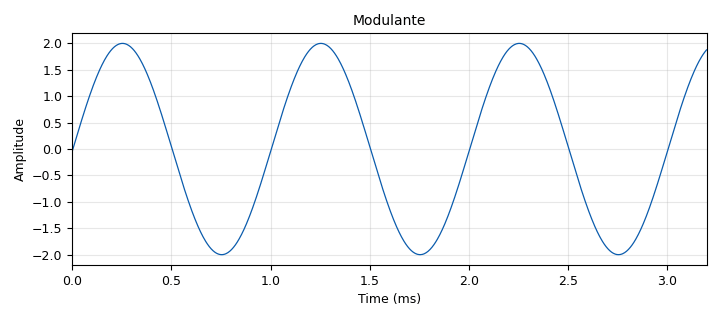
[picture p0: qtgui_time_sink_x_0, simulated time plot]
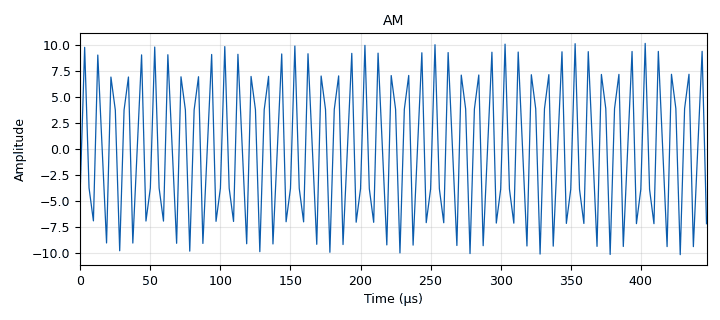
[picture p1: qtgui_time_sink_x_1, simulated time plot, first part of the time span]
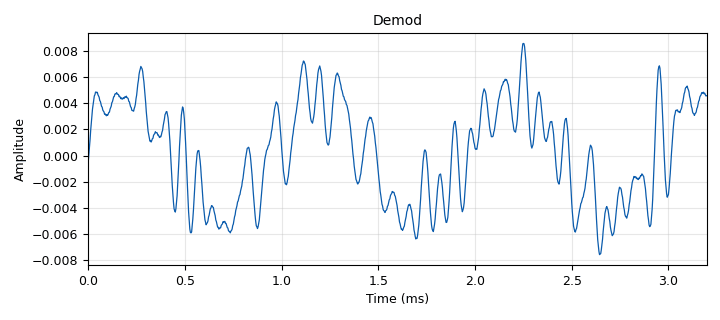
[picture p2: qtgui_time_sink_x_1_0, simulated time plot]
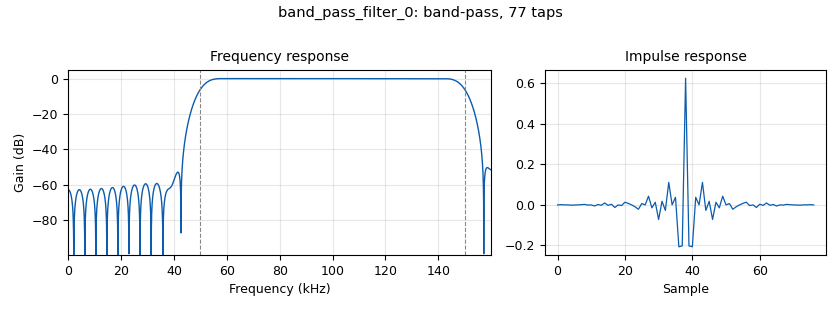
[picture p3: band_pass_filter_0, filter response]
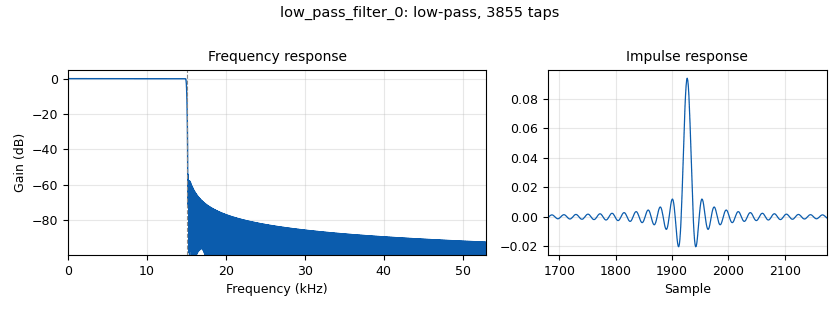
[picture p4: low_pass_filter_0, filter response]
options:
  parameters:
    author: Vazquez Leonardo
    generate_options: qt_gui
    id: am2
    output_language: python
    title: Am mod-dem
  states: {}

blocks:
- name: M
  id: variable_qtgui_range
  parameters:
    label: M
    orient: Qt.Horizontal
    start: '0.01'
    step: '0.01'
    stop: '1'
    value: '0.01'
  states: {}
- name: fol
  id: variable_qtgui_range
  parameters:
    label: oscilator rx
    orient: Qt.Horizontal
    start: '1000'
    step: '5000'
    stop: '100000'
    value: '100000'
  states: {}
- name: noise
  id: variable_qtgui_range
  parameters:
    label: Noise
    orient: Qt.Horizontal
    start: '0.01'
    step: '0.01'
    stop: '1'
    value: '0.01'
  states: {}
- name: samp_rate
  id: variable
  parameters:
    value: '320000'
  states: {}
- name: analog_const_source_x_0
  id: analog_const_source_x
  parameters:
    const: '1'
    type: float
  states: {}
- name: analog_noise_source_x_0
  id: analog_noise_source_x
  parameters:
    amp: noise
    noise_type: analog.GR_GAUSSIAN
    seed: '0'
    type: float
  states: {}
- name: analog_sig_source_x_0
  id: analog_sig_source_x
  parameters:
    amp: '2'
    freq: '1000'
    offset: '0'
    phase: '0'
    samp_rate: samp_rate
    type: float
    waveform: analog.GR_SIN_WAVE
  states: {}
- name: analog_sig_source_x_1
  id: analog_sig_source_x
  parameters:
    amp: '10'
    freq: '100000'
    offset: '0'
    phase: '0'
    samp_rate: samp_rate
    type: float
    waveform: analog.GR_COS_WAVE
  states: {}
- name: analog_sig_source_x_1_0
  id: analog_sig_source_x
  parameters:
    amp: '1'
    freq: fol
    offset: '0'
    phase: '0'
    samp_rate: samp_rate
    type: float
    waveform: analog.GR_COS_WAVE
  states: {}
- name: band_pass_filter_0
  id: band_pass_filter
  parameters:
    decim: '1'
    gain: '1'
    high_cutoff_freq: '150000'
    low_cutoff_freq: '50000'
    samp_rate: samp_rate
    type: fir_filter_fff
    width: '10000'
    win: firdes.WIN_HAMMING
  states: {}
- name: blocks_add_xx_0
  id: blocks_add_xx
  parameters:
    type: float
  states: {}
- name: blocks_add_xx_1
  id: blocks_add_xx
  parameters:
    type: float
  states: {}
- name: blocks_multiply_const_vxx_0
  id: blocks_multiply_const_vxx
  parameters:
    const: M
    type: float
  states: {}
- name: blocks_multiply_xx_0
  id: blocks_multiply_xx
  parameters:
    type: float
  states: {}
- name: blocks_multiply_xx_1
  id: blocks_multiply_xx
  parameters:
    type: float
  states: {}
- name: dc_blocker_xx_0
  id: dc_blocker_xx
  parameters:
    length: '32'
    long_form: 'True'
    type: ff
  states: {}
- name: low_pass_filter_0
  id: low_pass_filter
  parameters:
    cutoff_freq: '15000'
    decim: '1'
    gain: '1'
    samp_rate: samp_rate
    type: fir_filter_fff
    width: '200'
    win: firdes.WIN_HAMMING
  states: {}
- name: qtgui_time_sink_x_0
  id: qtgui_time_sink_x
  parameters:
    autoscale: 'True'
    name: '"Modulante"'
    size: '1024'
    srate: samp_rate
    tr_mode: qtgui.TRIG_MODE_AUTO
    type: float
  states: {}
- name: qtgui_time_sink_x_1
  id: qtgui_time_sink_x
  parameters:
    autoscale: 'True'
    name: '"AM"'
    size: '1024'
    srate: samp_rate
    tr_mode: qtgui.TRIG_MODE_AUTO
    type: float
  states: {}
- name: qtgui_time_sink_x_1_0
  id: qtgui_time_sink_x
  parameters:
    autoscale: 'True'
    name: '"Demod"'
    size: '1024'
    srate: samp_rate
    tr_mode: qtgui.TRIG_MODE_AUTO
    type: float
  states: {}
- name: virtual_sink_0
  id: virtual_sink
  parameters:
    stream_id: AM Tx
  states: {}
- name: virtual_sink_1
  id: virtual_sink
  parameters:
    stream_id: AM Rx
  states: {}
- name: virtual_source_0
  id: virtual_source
  parameters:
    stream_id: AM Tx
  states: {}
- name: virtual_source_1
  id: virtual_source
  parameters:
    stream_id: AM Rx
  states: {}

connections:
- [analog_const_source_x_0, '0', blocks_add_xx_0, '0']
- [analog_noise_source_x_0, '0', blocks_add_xx_1, '0']
- [analog_sig_source_x_0, '0', blocks_multiply_const_vxx_0, '0']
- [analog_sig_source_x_0, '0', qtgui_time_sink_x_0, '0']
- [analog_sig_source_x_1, '0', blocks_multiply_xx_0, '1']
- [analog_sig_source_x_1_0, '0', blocks_multiply_xx_1, '1']
- [band_pass_filter_0, '0', blocks_multiply_xx_1, '0']
- [blocks_add_xx_0, '0', blocks_multiply_xx_0, '0']
- [blocks_add_xx_1, '0', virtual_sink_1, '0']
- [blocks_multiply_const_vxx_0, '0', blocks_add_xx_0, '1']
- [blocks_multiply_xx_0, '0', qtgui_time_sink_x_1, '0']
- [blocks_multiply_xx_0, '0', virtual_sink_0, '0']
- [blocks_multiply_xx_1, '0', low_pass_filter_0, '0']
- [dc_blocker_xx_0, '0', qtgui_time_sink_x_1_0, '0']
- [low_pass_filter_0, '0', dc_blocker_xx_0, '0']
- [virtual_source_0, '0', blocks_add_xx_1, '1']
- [virtual_source_1, '0', band_pass_filter_0, '0']

metadata:
  file_format: 1
